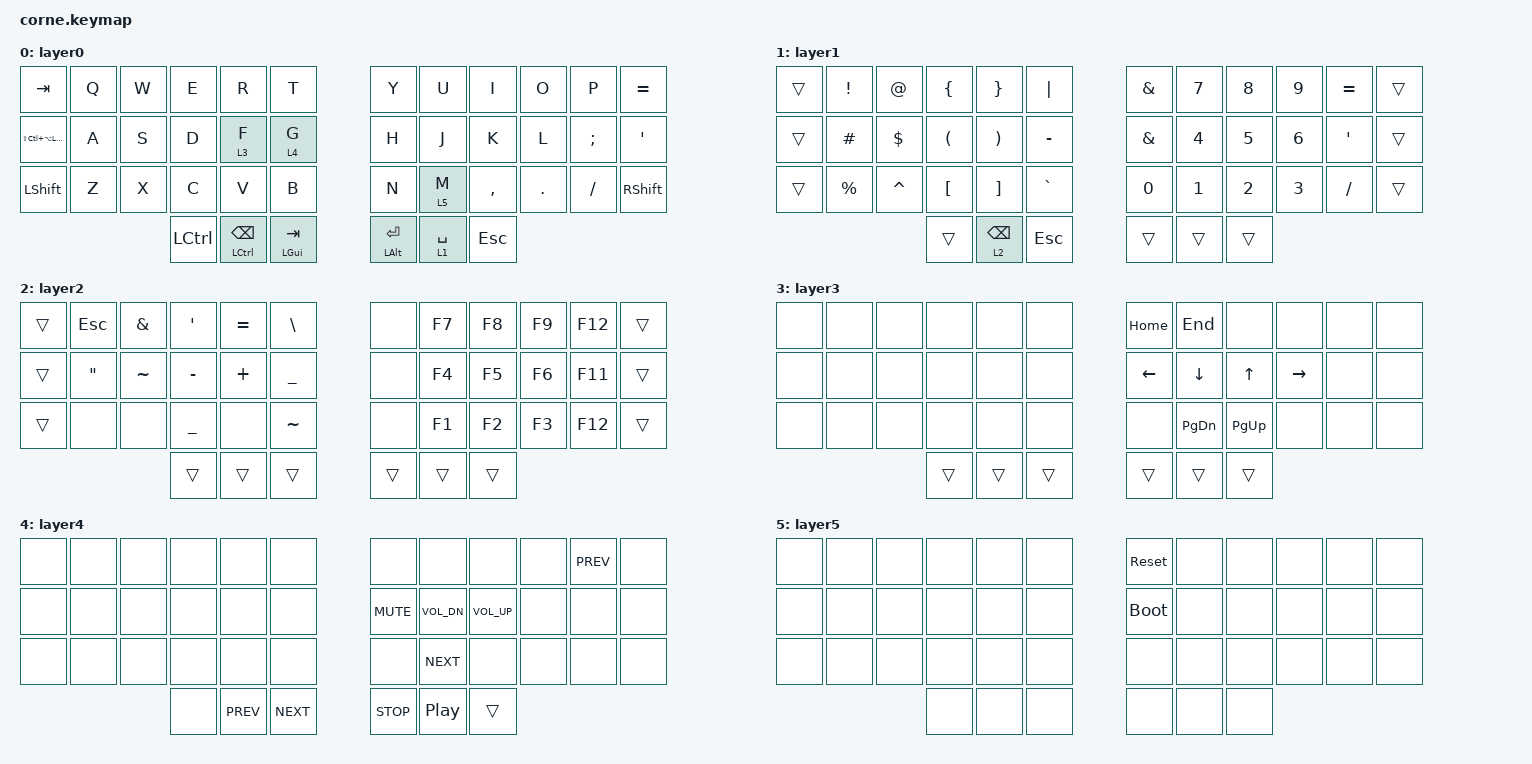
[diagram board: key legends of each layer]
/*
 * Copyright (c) 2020 The ZMK Contributors
 *
 * SPDX-License-Identifier: MIT
 */

#include <behaviors.dtsi>
#include <dt-bindings/zmk/keys.h>
#include <dt-bindings/zmk/bt.h>
#include <dt-bindings/zmk/rgb.h>


#define L0 0
#define L1 1
#define L2 2
#define L3 3
#define L4 4
#define L5 5

#define TAPPING_TERM 200

/ {
    keymap {
        compatible = "zmk,keymap";

        // Layer 0
        layer0 {
            bindings = <
            &kp TAB  &kp Q  &kp W  &kp E  &kp R  &kp T                &kp Y  &kp U  &kp I  &kp O  &kp P  &kp EQUAL
&kp LS(LC(LA(LGUI))) &kp A  &kp S  &kp D  &lt L3 F  &lt L4 G          &kp H  &kp J  &kp K  &kp L  &kp SEMI &kp SQT
           &kp LSHFT &kp Z  &kp X  &kp C  &kp V  &kp B                &kp N  &lt L5 M  &kp COMMA &kp DOT  &kp SLASH &kp RSHFT
                       &kp LCTRL  &mt LCTRL BSPC &mt LGUI TAB                  &mt LALT ENTER  &lt L1 SPACE  &kp ESC
            >;
        };

        // Layer 1
        layer1 {
            bindings = <
                &trans  &kp EXCL  &kp AT      &kp LBRC  &kp RBRC  &kp PIPE            &kp AMPS  &kp N7  &kp N8  &kp N9  &kp EQUAL &trans
                &trans  &kp HASH  &kp DOLLAR  &kp LPAR  &kp RPAR  &kp MINUS           &kp AMPS  &kp N4  &kp N5  &kp N6  &kp SQT   &trans
                &trans  &kp PRCNT &kp CARET   &kp LBKT  &kp RBKT  &kp GRAVE           &kp N0    &kp N1  &kp N2  &kp N3  &kp FSLH  &trans
                                       &trans  &lt L2 BSPC  &kp ESC                            &trans  &trans  &trans
            >; 
        };

        // Layer 2
        layer2 {
            bindings = <
                &trans  &kp ESC  &kp AMPS  &kp APOS   &kp EQUAL &kp BSLH          &none  &kp F7  &kp F8  &kp F9  &kp F12  &trans
                &trans  &kp DQT  &kp TILDE &kp MINUS  &kp PLUS  &kp UNDER         &none  &kp F4  &kp F5  &kp F6  &kp F11  &trans
                &trans  &none    &none     &kp UNDER  &none     &kp TILDE         &none &kp F1  &kp F2  &kp F3  &kp F12  &trans
                                   &trans  &trans  &trans                                 &trans  &trans  &trans
            >;
        };

        // Layer 3
        layer3 {
            bindings = <
                &none  &none  &none  &none  &none  &none      &kp HOME  &kp END  &none  &none  &none  &none
                &none  &none  &none  &none  &none  &none      &kp LEFT  &kp DOWN  &kp UP  &kp RIGHT  &none  &none
                &none  &none  &none  &none  &none  &none      &none  &kp PG_DN  &kp PG_UP  &none  &none  &none
                                &trans  &trans  &trans                  &trans  &trans  &trans
            >;
        };

        // Layer 4
        layer4 {
            bindings = <
                &none  &none  &none  &none  &none  &none       &none       &none         &none         &none  &kp C_PREV  &none
                &none  &none  &none  &none  &none  &none       &kp C_MUTE  &kp C_VOL_DN  &kp C_VOL_UP  &none  &none       &none
                &none  &none  &none  &none  &none  &none       &none       &kp C_NEXT    &none         &none  &none       &none
                        &none  &kp C_PREV  &kp C_NEXT                   &kp C_STOP  &kp C_PLAY_PAUSE  &trans
            >;
        };

        // Layer 5
        layer5 {
            bindings = <
                &none  &none  &none  &none  &none  &none               &sys_reset   &none  &none  &none  &none  &none
                &none  &none  &none  &none  &none  &none               &bootloader  &none  &none  &none  &none  &none
                &none  &none  &none  &none  &none  &none               &none        &none  &none  &none  &none  &none
                          &none  &none   &none                                &none  &none  &none
            >;
        };
    };
};
